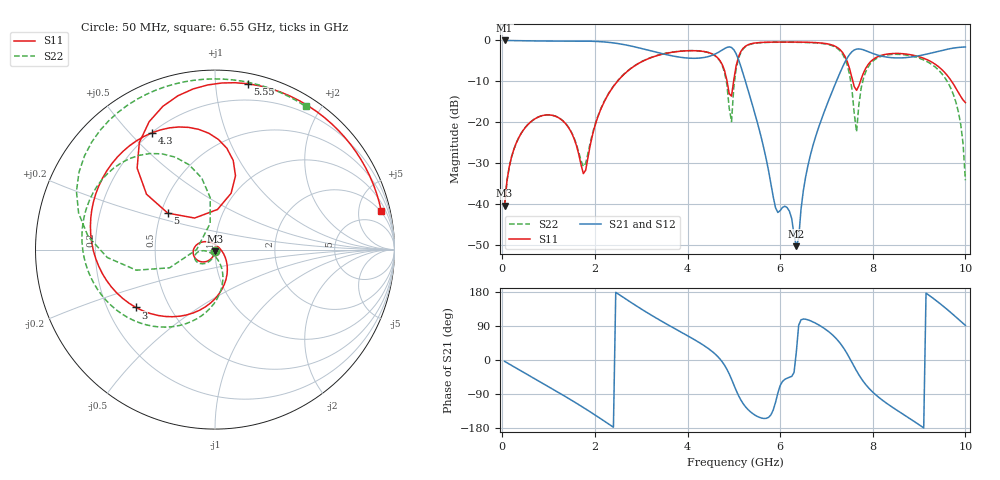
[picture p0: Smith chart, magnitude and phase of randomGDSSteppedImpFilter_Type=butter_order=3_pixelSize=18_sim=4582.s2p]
! freq	dB(S11)	phase(S11)	dB(S12)	phase(S12)
!  dB(S21)	phase(S21)	dB(S22)	phase(S22)
!S-par simulation data
#  GHz  S  DB  R 50
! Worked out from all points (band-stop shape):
!   200 points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, 50 MHz to 10 GHz, reference 50 ohm
!   highest |S21| = -0.01 dB at 50 MHz (marker M1); lowest = -50.2 dB at 6.35 GHz (marker M2)
!   |S21| within 3 dB of the highest: start of sweep to 3.369 GHz; 9.288 GHz to end of sweep (the widest 2 of 4)
!   lowest |S11| = -40.3 dB at 50 MHz (marker M3), VSWR 1.02, Z = 49.9 - j0.959 ohm
!   |S11| at or under -10 dB: start of sweep to 2.485 GHz; 7.571 GHz to 7.733 GHz (161.8 MHz wide, 2.11 % of centre); 9.704 GHz to end of sweep (the widest 3 of 4)
!   |S22| runs from -40.3 to -0.4 dB; largest |S21 - S12| = 0
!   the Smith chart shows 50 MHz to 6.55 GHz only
!   S11 on the Smith chart (normalised r, x): 50 MHz: 1.00, -0.02; 3 GHz: 0.32, -0.30; 4.3 GHz: 0.20, +0.58; 5 GHz: 0.54, +0.25; 5.55 GHz: 0.07, +1.21; 6.55 GHz: 1.88, +8.39
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0.05  -40.34 -93.2  -0.01 -3.6  -0.01 -3.6  -40.32 -92.6
0.3  -25.08 -113.3  -0.05 -21.3  -0.05 -21.3  -25.06 -109.3
0.8  -18.59 -152.6  -0.14 -56.5  -0.14 -56.5  -18.57 -140.8
1.75  -32.50 61.9  -0.16 -125.3  -0.16 -125.3  -30.76 -130.8
2.2  -15.00 -69.9  -0.37 -161.0  -0.37 -161.0  -14.88 -76.1
3  -5.26 -143.8  -1.95 134.6  -1.95 134.6  -5.21 -128.9
3.4  -3.52 -175.7  -3.09 105.2  -3.09 105.2  -3.48 -155.2
4.3  -2.62 118.3  -4.26 42.5  -4.26 42.5  -2.60 148.5
4.75  -5.90 78.4  -2.33 -5.0  -2.33 -5.0  -6.11 107.0
4.95  -13.58 122.9  -1.72 -50.7  -1.72 -50.7  -19.80 -180.0
5  -9.56 142.3  -2.27 -65.5  -2.27 -65.5  -11.29 -158.2
5.05  -6.18 141.0  -3.27 -80.1  -3.27 -80.1  -6.88 -165.3
5.55  -0.52 78.9  -21.83 -151.2  -21.83 -151.2  -0.57 125.3
6.35  -0.40 25.4  -50.21 21.7  -50.21 21.7  -0.46 71.2
6.55  -0.44 13.0  -33.32 107.6  -33.32 107.6  -0.50 57.6
6.7  -0.49 3.3  -25.99 101.0  -25.99 101.0  -0.56 46.8
7.4  -3.91 -58.0  -5.28 25.9  -5.28 25.9  -4.48 -31.5
7.65  -12.17 -35.3  -2.11 -28.7  -2.11 -28.7  -22.31 17.3
7.85  -6.75 -11.6  -2.51 -65.1  -2.51 -65.1  -7.57 39.7
8.35  -3.27 -43.4  -4.15 -118.6  -4.15 -118.6  -3.47 -12.8
9.6  -8.43 -113.1  -2.17 134.1  -2.17 134.1  -9.85 -131.4
10  -15.15 -96.7  -1.60 91.3  -1.60 91.3  -34.14 138.9
